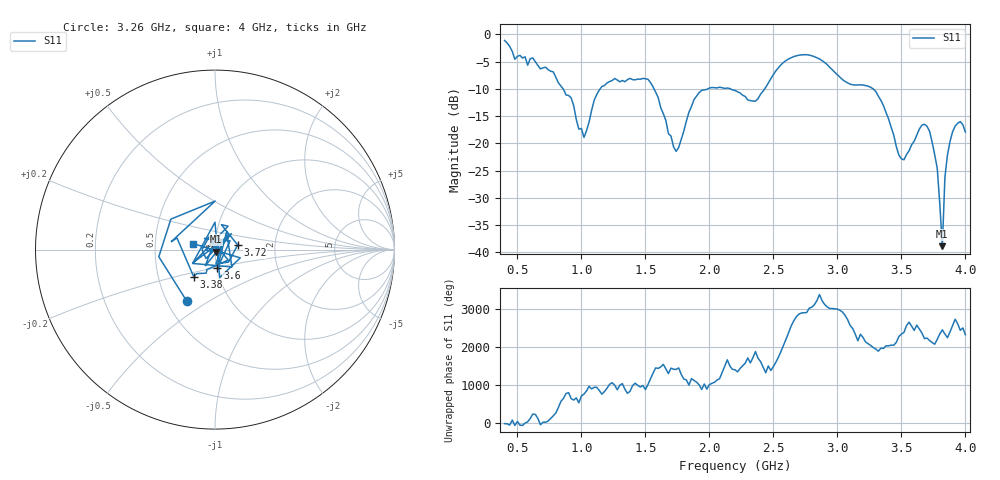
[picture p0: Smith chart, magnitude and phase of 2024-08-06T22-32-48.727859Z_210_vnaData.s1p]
!Created with skrf (http://scikit-rf.org).
# Hz S RI R 50.0
!freq ReS11 ImS11
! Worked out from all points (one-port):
!   181 points, 400 MHz to 4 GHz, reference 50 ohm
!   lowest |S11| = -38.9 dB at 3.82 GHz (marker M1), VSWR 1.02, Z = 50.4 - j1.07 ohm
!   |S11| at or under -10 dB: 856.8 MHz to 1.147 GHz (289.9 MHz wide, 28.9 % of centre); 1.567 GHz to 1.989 GHz (422.2 MHz wide, 23.7 % of centre); 3.279 GHz to end of sweep (the widest 3 of 4)
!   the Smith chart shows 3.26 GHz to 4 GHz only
!   S11 on the Smith chart (normalised r, x): 3.26 GHz: 0.63, -0.40; 3.38 GHz: 0.76, -0.24; 3.6 GHz: 1.00, -0.21; 3.72 GHz: 1.29, +0.07; 4 GHz: 0.78, +0.05
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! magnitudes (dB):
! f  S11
! 400 MHz  -1.1
! 480 MHz  -4.6
! 620 MHz  -4.3
! 860 MHz  -10.1
! 1.02 GHz  -18.9
! 1.14 GHz  -10.2
! 1.3 GHz  -8.7
! 1.52 GHz  -8.3
! 1.72 GHz  -20.6
! 1.76 GHz  -20.8
! 1.92 GHz  -10.7
! 2.2 GHz  -10.3
! 2.36 GHz  -12.3
! 2.66 GHz  -4.1
! 3.1 GHz  -9.2
! 3.26 GHz  -9.7
! 3.38 GHz  -14.4
! 3.48 GHz  -22.1
! 3.56 GHz  -21.4
! 3.6 GHz  -19.6
! 3.66 GHz  -16.7
! 3.72 GHz  -17.8
! 3.78 GHz  -24.6
! 3.82 GHz  -38.9
! 3.84 GHz  -26.2
! 3.88 GHz  -19.7
! 3.96 GHz  -16.0
! 4 GHz  -17.9
